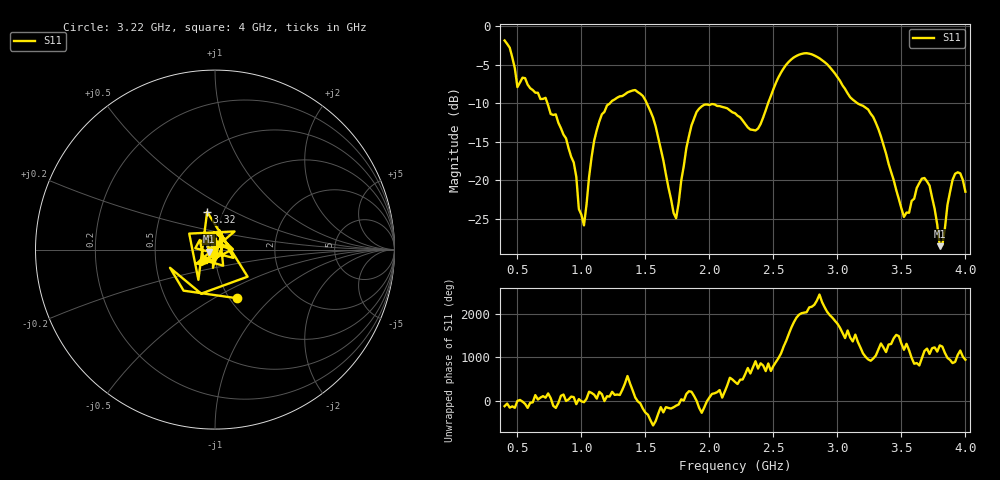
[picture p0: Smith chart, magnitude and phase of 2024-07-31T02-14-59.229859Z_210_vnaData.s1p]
!Created with skrf (http://scikit-rf.org).
# Hz S RI R 50.0
!freq ReS11 ImS11
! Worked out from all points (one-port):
!   181 points, 400 MHz to 4 GHz, reference 50 ohm
!   lowest |S11| = -28.6 dB at 3.8 GHz (marker M1), VSWR 1.08, Z = 46.6 - j1 ohm
!   |S11| at or under -10 dB: 734.3 MHz to 1.223 GHz (489 MHz wide, 50 % of centre); 1.511 GHz to 2.459 GHz (947.6 MHz wide, 47.7 % of centre); 3.156 GHz to end of sweep
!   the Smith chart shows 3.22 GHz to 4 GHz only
!   S11 on the Smith chart (normalised r, x): 3.22 GHz: 1.08, -0.64; 3.32 GHz: 0.84, +0.37; 4 GHz: 0.88, -0.11
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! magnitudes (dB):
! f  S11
! 400 MHz  -1.8
! 500 MHz  -7.9
! 720 MHz  -9.3
! 860 MHz  -14.1
! 940 MHz  -17.7
! 980 MHz  -23.8
! 1.02 GHz  -25.9
! 1.12 GHz  -13.5
! 1.3 GHz  -9.1
! 1.5 GHz  -9.6
! 1.72 GHz  -24.3
! 1.76 GHz  -23.0
! 1.82 GHz  -15.8
! 1.9 GHz  -11.1
! 2.2 GHz  -11.3
! 2.38 GHz  -13.3
! 2.66 GHz  -4.0
! 2.86 GHz  -4.2
! 3.1 GHz  -9.2
! 3.22 GHz  -10.6
! 3.32 GHz  -13.4
! 3.52 GHz  -24.8
! 3.56 GHz  -24.2
! 3.68 GHz  -19.7
! 3.72 GHz  -20.7
! 3.8 GHz  -28.6
! 3.92 GHz  -19.2
! 4 GHz  -21.5
